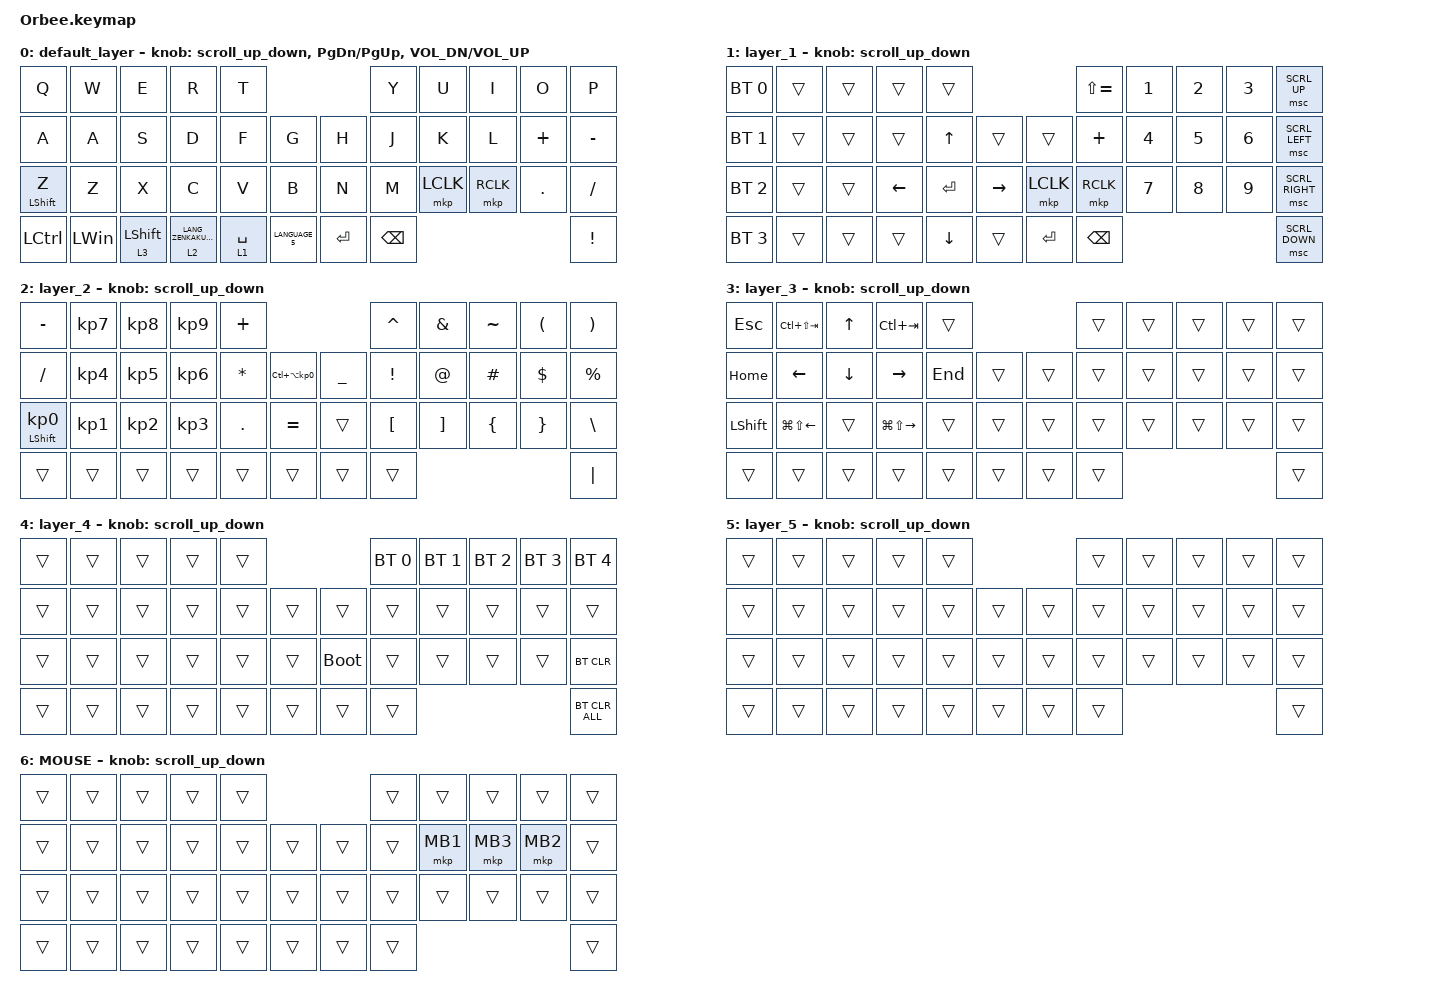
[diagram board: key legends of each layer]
#include <behaviors.dtsi>
#include <dt-bindings/zmk/bt.h>
#include <dt-bindings/zmk/keys.h>
#include <dt-bindings/zmk/pointing.h>

#define ZMK_POINTING_DEFAULT_SCRL_VAL 100
#define MOUSE 6

&mt {
    flavor = "balanced";
    quick-tap-ms = <0>;
};

/ {
    combos { compatible = "zmk,combos"; };

    macros {
        to_layer_0: to_layer_0 {
            compatible = "zmk,behavior-macro-one-param";
            #binding-cells = <1>;
            bindings = <&to 0 &macro_param_1to1 &kp MACRO_PLACEHOLDER>;
            label = "TO_LAYER_0";
        };
    };

    behaviors {
        lt_to_layer_0: lt_to_layer_0 {
            compatible = "zmk,behavior-hold-tap";
            label = "LAYER_TAP_TO_0";
            bindings = <&mo>, <&to_layer_0>;

            #binding-cells = <2>;
            tapping-term-ms = <200>;
        };

        scroll_up_down: behavior_sensor_rotate_mouse_wheel_up_down {
            compatible = "zmk,behavior-sensor-rotate";
            #sensor-binding-cells = <0>;
            bindings = <&msc SCRL_UP>, <&msc SCRL_DOWN>;

            tap-ms = <20>;
        };
    };

    keymap {
        compatible = "zmk,keymap";

        default_layer {
            bindings = <
&kp Q             &kp W         &kp E             &kp R                      &kp T                                     &kp Y          &kp U      &kp I      &kp O     &kp P
&kp A             &kp A         &kp S             &kp D                      &kp F        &kp G             &kp H      &kp J          &kp K      &kp L      &kp PLUS  &kp MINUS
&mt LEFT_SHIFT Z  &kp Z         &kp X             &kp C                      &kp V        &kp B             &kp N      &kp M          &mkp LCLK  &mkp RCLK  &kp DOT   &kp SLASH
&kp LCTRL         &kp LEFT_WIN  &lt 3 LEFT_SHIFT  &lt 2 LANG_ZENKAKUHANKAKU  &lt 1 SPACE  &kp LANGUAGE_5    &kp ENTER  &kp BACKSPACE                                  &kp EXCLAMATION
            >;

            sensor-bindings =
                <&scroll_up_down>,
                <&inc_dec_kp PG_DN PG_UP>,
                <&inc_dec_kp C_VOL_DN C_VOL_UP>;
        };

        layer_1 {
            bindings = <
&bt BT_SEL 0  &trans  &trans  &trans          &trans                                      &kp LS(EQUAL)  &kp NUMBER_1  &kp NUMBER_2  &kp NUMBER_3  &msc SCRL_UP
&bt BT_SEL 1  &trans  &trans  &trans          &kp UP_ARROW  &trans             &trans     &kp PLUS       &kp NUMBER_4  &kp N5        &kp NUMBER_6  &msc SCRL_LEFT
&bt BT_SEL 2  &trans  &trans  &kp LEFT_ARROW  &kp ENTER     &kp RIGHT_ARROW    &mkp LCLK  &mkp RCLK      &kp N7        &kp N8        &kp N9        &msc SCRL_RIGHT
&bt BT_SEL 3  &trans  &trans  &trans          &kp DOWN      &trans             &kp ENTER  &kp BACKSPACE                                            &msc SCRL_DOWN
            >;

            sensor-bindings = <&scroll_up_down>;
        };

        layer_2 {
            bindings = <
&kp MINUS                   &kp KP_NUMBER_7  &kp KP_NUMBER_8  &kp KP_NUMBER_9  &kp PLUS                                                 &kp CARET         &kp AMPERSAND      &kp TILDE       &kp LEFT_PARENTHESIS  &kp RIGHT_PARENTHESIS
&kp SLASH                   &kp KP_NUMBER_4  &kp KP_NUMBER_5  &kp KP_NUMBER_6  &kp ASTERISK  &kp LC(LA(KP_NUMBER_0))    &kp UNDERSCORE  &kp EXCLAMATION   &kp AT_SIGN        &kp HASH        &kp DOLLAR            &kp PERCENT
&mt LEFT_SHIFT KP_NUMBER_0  &kp KP_NUMBER_1  &kp KP_NUMBER_2  &kp KP_NUMBER_3  &kp PERIOD    &kp EQUAL                  &trans          &kp LEFT_BRACKET  &kp RIGHT_BRACKET  &kp LEFT_BRACE  &kp RIGHT_BRACE       &kp BACKSLASH
&trans                      &trans           &trans           &trans           &trans        &trans                     &trans          &trans                                                                     &kp PIPE
            >;

            sensor-bindings = <&scroll_up_down>;
        };

        layer_3 {
            bindings = <
&kp ESCAPE      &kp LC(LS(TAB))         &kp UP_ARROW    &kp LC(TAB)              &trans                     &trans  &trans  &trans  &trans  &trans
&kp HOME        &kp LEFT_ARROW          &kp DOWN_ARROW  &kp RIGHT_ARROW          &kp END  &trans    &trans  &trans  &trans  &trans  &trans  &trans
&kp LEFT_SHIFT  &kp LG(LS(LEFT_ARROW))  &trans          &kp LG(LS(RIGHT_ARROW))  &trans   &trans    &trans  &trans  &trans  &trans  &trans  &trans
&trans          &trans                  &trans          &trans                   &trans   &trans    &trans  &trans                          &trans
            >;

            sensor-bindings = <&scroll_up_down>;
        };

        layer_4 {
            bindings = <
&trans  &trans  &trans  &trans  &trans                         &bt BT_SEL 0  &bt BT_SEL 1  &bt BT_SEL 2  &bt BT_SEL 3  &bt BT_SEL 4
&trans  &trans  &trans  &trans  &trans  &trans    &trans       &trans        &trans        &trans        &trans        &trans
&trans  &trans  &trans  &trans  &trans  &trans    &bootloader  &trans        &trans        &trans        &trans        &bt BT_CLR
&trans  &trans  &trans  &trans  &trans  &trans    &trans       &trans                                                  &bt BT_CLR_ALL
            >;

            sensor-bindings = <&scroll_up_down>;
        };

        layer_5 {
            bindings = <
&trans  &trans  &trans  &trans  &trans                    &trans  &trans  &trans  &trans  &trans
&trans  &trans  &trans  &trans  &trans  &trans    &trans  &trans  &trans  &trans  &trans  &trans
&trans  &trans  &trans  &trans  &trans  &trans    &trans  &trans  &trans  &trans  &trans  &trans
&trans  &trans  &trans  &trans  &trans  &trans    &trans  &trans                          &trans
            >;

            sensor-bindings = <&scroll_up_down>;
        };

        MOUSE {
            bindings = <
&trans  &trans  &trans  &trans  &trans                    &trans  &trans    &trans    &trans    &trans
&trans  &trans  &trans  &trans  &trans  &trans    &trans  &trans  &mkp MB1  &mkp MB3  &mkp MB2  &trans
&trans  &trans  &trans  &trans  &trans  &trans    &trans  &trans  &trans    &trans    &trans    &trans
&trans  &trans  &trans  &trans  &trans  &trans    &trans  &trans                                &trans
            >;

            sensor-bindings = <&scroll_up_down>;
        };
    };
};
